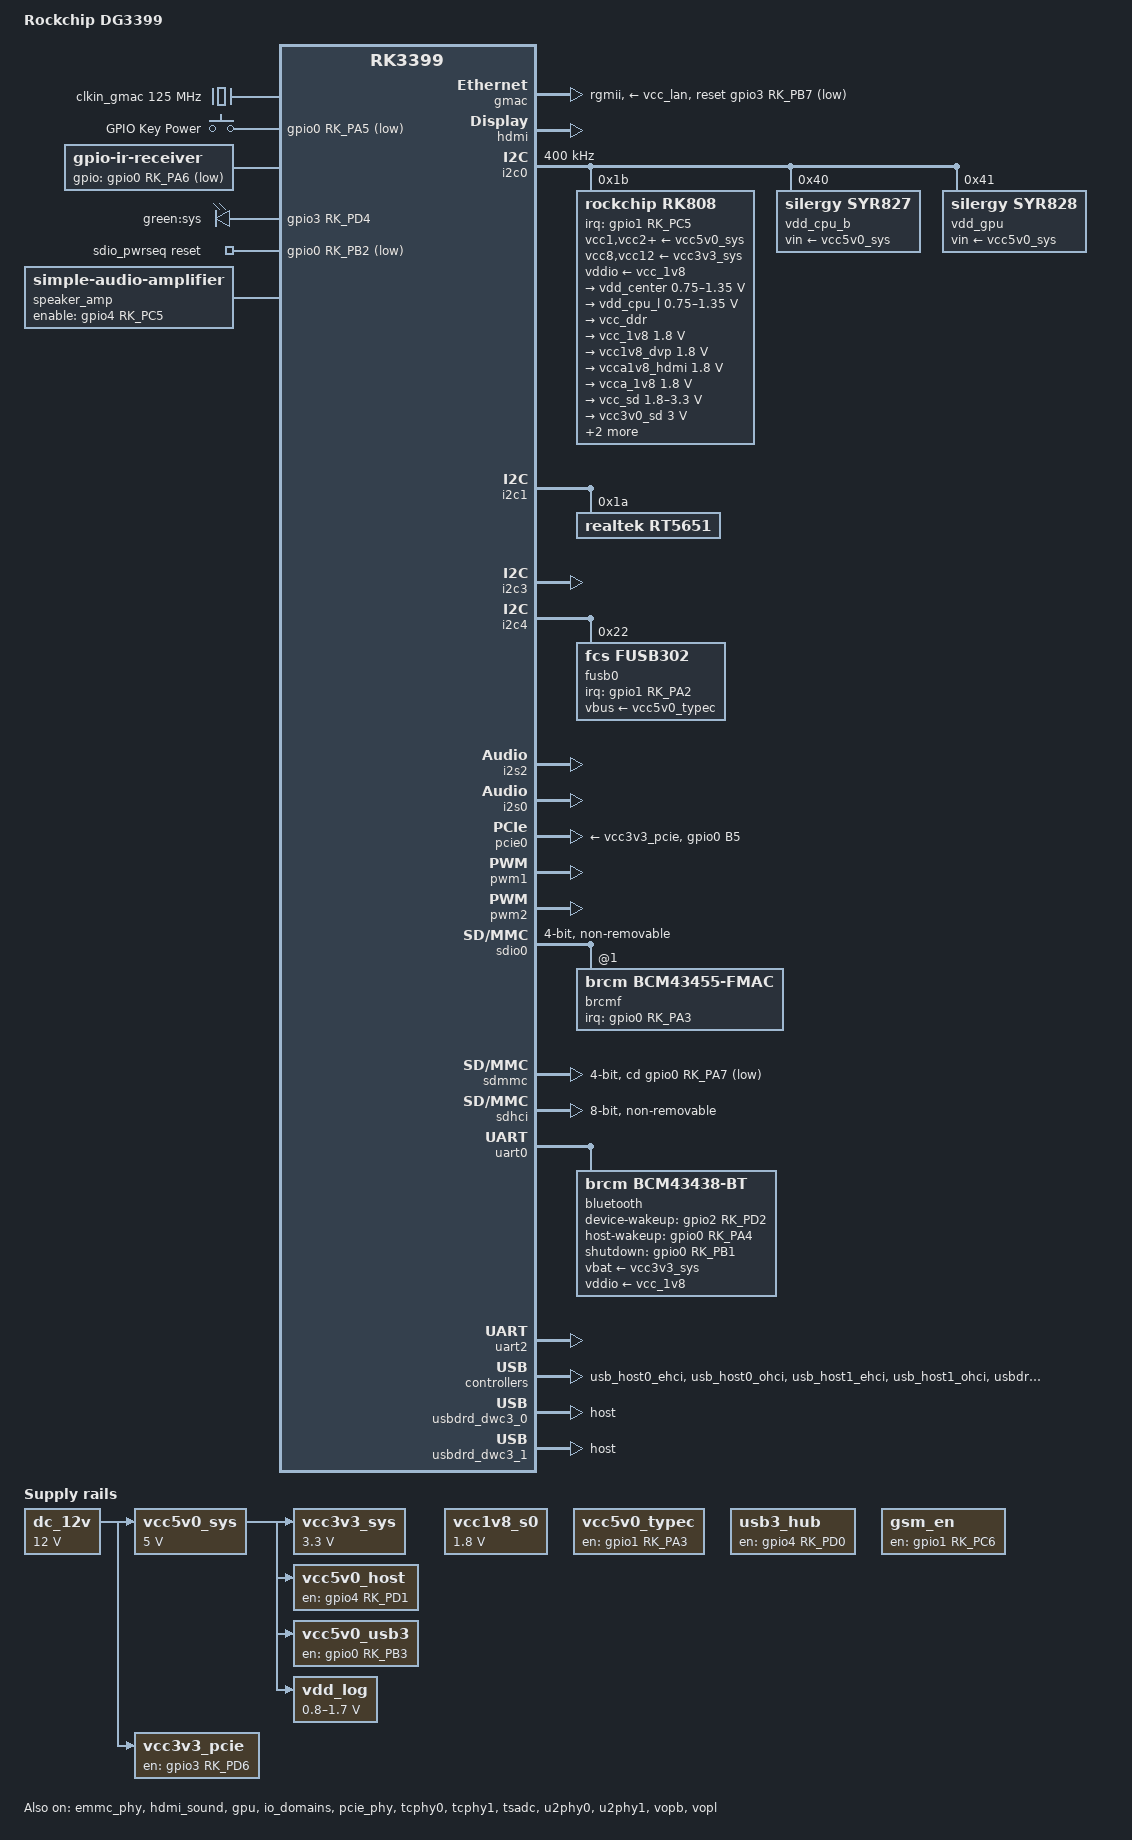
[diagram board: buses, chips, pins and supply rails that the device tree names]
// SPDX-License-Identifier: (GPL-2.0+ OR MIT)
/dts-v1/;

#include <dt-bindings/input/linux-event-codes.h>
#include <dt-bindings/pwm/pwm.h>
#include "dt-bindings/input/input.h"
#include <dt-bindings/interrupt-controller/irq.h>
#include "dt-bindings/usb/pd.h"
#include "rk3399.dtsi"
#include "watchdog.dtsi"

/ {
	model = "Rockchip DG3399";
	compatible = "rockchip,dg-3399", "rockchip,rk3399";

	aliases {
		ethernet0 = &gmac;
		mmc0 = &sdio0;
		mmc1 = &sdmmc;
		mmc2 = &sdhci;
	};

	chosen {
		stdout-path = "serial2:1500000n8";
	};

	clkin_gmac: external-gmac-clock {
		compatible = "fixed-clock";
		clock-frequency = <125000000>;
		clock-output-names = "clkin_gmac";
		#clock-cells = <0>;
	};

	gpio-keys {
		compatible = "gpio-keys";
		autorepeat;
		pinctrl-names = "default";
		pinctrl-0 = <&pwrbtn>;

		key-power {
			debounce-interval = <100>;
			gpios = <&gpio0 RK_PA5 GPIO_ACTIVE_LOW>;
			label = "GPIO Key Power";
			linux,code = <KEY_POWER>;
			wakeup-source;
		};
	};

	ir-receiver {
		compatible = "gpio-ir-receiver";
		gpios = <&gpio0 RK_PA6 GPIO_ACTIVE_LOW>;
		pinctrl-0 = <&ir_int>;
		pinctrl-names = "default";
	};

	leds {
		compatible = "gpio-leds";
		pinctrl-names = "default";
		pinctrl-0 = <&sys_led_pin>;

		sys_led: led-0 {
			label = "green:sys";
			default-state = "off";
			linux,default-trigger = "heartbeat";
			gpios = <&gpio3 RK_PD4 GPIO_ACTIVE_HIGH>;
		};
	};

	sdio_pwrseq: sdio-pwrseq {
		compatible = "mmc-pwrseq-simple";
		clocks = <&rk808 1>;
		clock-names = "ext_clock";
		pinctrl-names = "default";
		pinctrl-0 = <&wifi_enable_h>;
		reset-gpios = <&gpio0 RK_PB2 GPIO_ACTIVE_LOW>;
	};

	dc_12v: regulator-dc-12v {
		compatible = "regulator-fixed";
		regulator-name = "dc_12v";
		regulator-always-on;
		regulator-boot-on;
		regulator-min-microvolt = <12000000>;
		regulator-max-microvolt = <12000000>;
	};

	vcc1v8_s0: regulator-vcc1v8-s0 {
		compatible = "regulator-fixed";
		regulator-name = "vcc1v8_s0";
		regulator-always-on;
		regulator-boot-on;
		regulator-min-microvolt = <1800000>;
		regulator-max-microvolt = <1800000>;
	};

	vcc3v3_sys: regulator-vcc3v3-sys {
		compatible = "regulator-fixed";
		regulator-name = "vcc3v3_sys";
		regulator-always-on;
		regulator-boot-on;
		regulator-min-microvolt = <3300000>;
		regulator-max-microvolt = <3300000>;
		vin-supply = <&vcc5v0_sys>;
	};

	vcc5v0_host: regulator-vcc5v0-host {
		compatible = "regulator-fixed";
		enable-active-high;
		gpio = <&gpio4 RK_PD1 GPIO_ACTIVE_HIGH>;
		pinctrl-names = "default";
		pinctrl-0 = <&vcc5v0_host_en>;
		regulator-name = "vcc5v0_host";
		regulator-always-on;
		vin-supply = <&vcc5v0_sys>;
	};

	vcc5v0_typec: regulator-vcc5v0-typec {
		compatible = "regulator-fixed";
		enable-active-high;
		gpio = <&gpio1 RK_PA3 GPIO_ACTIVE_HIGH>;
		pinctrl-names = "default";
		pinctrl-0 = <&vcc5v0_typec_en>;
		regulator-name = "vcc5v0_typec";
		regulator-always-on;
	};

	vcc5v0_usb3: regulator-vcc5v0-usb3 {
		compatible = "regulator-fixed";
		enable-active-high;
		gpio = <&gpio0 RK_PB3 GPIO_ACTIVE_HIGH>;
		pinctrl-names = "default";
		pinctrl-0 = <&vcc5v0_usb3_en>;
		regulator-name = "vcc5v0_usb3";
		regulator-always-on;
		vin-supply = <&vcc5v0_sys>;
	};

	vcc5v0_sys: regulator-vcc5v0-sys {
		compatible = "regulator-fixed";
		regulator-name = "vcc5v0_sys";
		regulator-always-on;
		regulator-boot-on;
		regulator-min-microvolt = <5000000>;
		regulator-max-microvolt = <5000000>;
		vin-supply = <&dc_12v>;
	};

	vdd_log: vdd-log {
		compatible = "pwm-regulator";
		pwms = <&pwm2 0 25000 1>;
		pwm-supply = <&vcc5v0_sys>;
		regulator-name = "vdd_log";
		regulator-always-on;
		regulator-boot-on;
		regulator-min-microvolt = <800000>;
		regulator-max-microvolt = <1700000>;
	};

	usb3_hub: regulator-usb3-hub-en {
		compatible = "regulator-fixed";
		enable-active-high;
		gpio = <&gpio4 RK_PD0 GPIO_ACTIVE_HIGH>;
		pinctrl-names = "default";
		pinctrl-0 = <&usb3_hub_en>;
		regulator-name = "usb3_hub_en";
		regulator-always-on;
	};

	gsm_en: regulator-gsm-en {
		compatible = "regulator-fixed";
		enable-active-high;
		gpio = <&gpio1 RK_PC6 GPIO_ACTIVE_HIGH>;
		pinctrl-names = "default";
		pinctrl-0 = <&gsm_power_en>;
		regulator-name = "gsm_power_en";
		regulator-always-on;
	};

	vcc3v3_pcie: regulator-vcc3v3-pcie {
		compatible = "regulator-fixed";
		enable-active-high;
		gpio = <&gpio3 RK_PD6 GPIO_ACTIVE_HIGH>;
		pinctrl-names = "default";
		pinctrl-0 = <&pcie_pwr_en>;
		regulator-name = "vcc3v3_pcie";
		regulator-always-on;
		regulator-boot-on;
		vin-supply = <&dc_12v>;
	};

	// 音频编解码器
	rt5651_sound: rt5651-sound {
		compatible = "simple-audio-card";
		simple-audio-card,name = "rockchip,rt5651-codec";
		simple-audio-card,format = "i2s";
		simple-audio-card,mclk-fs = <256>;
		simple-audio-card,widgets =
			"Microphone", "Mic Jack",
			"Headphone", "Headphone Jack";
		simple-audio-card,routing =
			"Mic Jack", "MICBIAS1",
			"IN1P", "Mic Jack",
			"Headphone Jack", "HPOL",
			"Headphone Jack", "HPOR";

		simple-audio-card,cpu {
			sound-dai = <&i2s0>;
		};
		simple-audio-card,codec {
			sound-dai = <&rt5651>;
		};
	};

	// 扬声器放大器
	speaker_amp: speaker-amplifier {
		compatible = "simple-audio-amplifier";
		enable-gpios = <&gpio4 RK_PC5 GPIO_ACTIVE_HIGH>;
		sound-name-prefix = "Speaker Amp";
		status = "okay";
	};
};

&cpu_l0 {
	cpu-supply = <&vdd_cpu_l>;
};

&cpu_l1 {
	cpu-supply = <&vdd_cpu_l>;
};

&cpu_l2 {
	cpu-supply = <&vdd_cpu_l>;
};

&cpu_l3 {
	cpu-supply = <&vdd_cpu_l>;
};

&cpu_b0 {
	cpu-supply = <&vdd_cpu_b>;
};

&cpu_b1 {
	cpu-supply = <&vdd_cpu_b>;
};

&emmc_phy {
	status = "okay";
};

&gmac {
	assigned-clocks = <&cru SCLK_RMII_SRC>;
	assigned-clock-parents = <&clkin_gmac>;
	clock_in_out = "input";
	phy-supply = <&vcc_lan>;
	phy-mode = "rgmii";
	pinctrl-names = "default";
	pinctrl-0 = <&rgmii_pins>;
	snps,reset-gpio = <&gpio3 RK_PB7 GPIO_ACTIVE_LOW>;
	snps,reset-active-low;
	snps,reset-delays-us = <0 10000 50000>;
	tx_delay = <0x28>;
	rx_delay = <0x11>;
	status = "okay";
};

&hdmi {
	ddc-i2c-bus = <&i2c3>;
	pinctrl-names = "default";
	pinctrl-0 = <&hdmi_cec>;
	status = "okay";
};

&hdmi_sound {
	status = "okay";
};

&gpu {
	mali-supply = <&vdd_gpu>;
	status = "okay";
};

&i2c0 {
	clock-frequency = <400000>;
	i2c-scl-rising-time-ns = <168>;
	i2c-scl-falling-time-ns = <4>;
	status = "okay";

	rk808: pmic@1b {
		compatible = "rockchip,rk808";
		reg = <0x1b>;
		interrupt-parent = <&gpio1>;
		interrupts = <RK_PC5 IRQ_TYPE_LEVEL_LOW>;
		#clock-cells = <1>;
		clock-output-names = "xin32k", "rk808-clkout2";
		pinctrl-names = "default";
		pinctrl-0 = <&pmic_int_l>;
		system-power-controller;
		wakeup-source;

		vcc1-supply = <&vcc5v0_sys>;
		vcc2-supply = <&vcc5v0_sys>;
		vcc3-supply = <&vcc5v0_sys>;
		vcc4-supply = <&vcc5v0_sys>;
		vcc6-supply = <&vcc5v0_sys>;
		vcc7-supply = <&vcc5v0_sys>;
		vcc8-supply = <&vcc3v3_sys>;
		vcc9-supply = <&vcc5v0_sys>;
		vcc10-supply = <&vcc5v0_sys>;
		vcc11-supply = <&vcc5v0_sys>;
		vcc12-supply = <&vcc3v3_sys>;
		vddio-supply = <&vcc_1v8>;

		regulators {
			vdd_center: DCDC_REG1 {
				regulator-name = "vdd_center";
				regulator-always-on;
				regulator-boot-on;
				regulator-min-microvolt = <750000>;
				regulator-max-microvolt = <1350000>;
				regulator-ramp-delay = <6001>;
				regulator-state-mem {
					regulator-off-in-suspend;
				};
			};

			vdd_cpu_l: DCDC_REG2 {
				regulator-name = "vdd_cpu_l";
				regulator-always-on;
				regulator-boot-on;
				regulator-min-microvolt = <750000>;
				regulator-max-microvolt = <1350000>;
				regulator-ramp-delay = <6001>;
				regulator-state-mem {
					regulator-off-in-suspend;
				};
			};

			vcc_ddr: DCDC_REG3 {
				regulator-name = "vcc_ddr";
				regulator-always-on;
				regulator-boot-on;
				regulator-state-mem {
					regulator-on-in-suspend;
				};
			};

			vcc_1v8: DCDC_REG4 {
				regulator-name = "vcc_1v8";
				regulator-always-on;
				regulator-boot-on;
				regulator-min-microvolt = <1800000>;
				regulator-max-microvolt = <1800000>;
				regulator-state-mem {
					regulator-on-in-suspend;
					regulator-suspend-microvolt = <1800000>;
				};
			};

			vcc1v8_dvp: LDO_REG1 {
				regulator-name = "vcc1v8_dvp";
				regulator-always-on;
				regulator-boot-on;
				regulator-min-microvolt = <1800000>;
				regulator-max-microvolt = <1800000>;
				regulator-state-mem {
					regulator-on-in-suspend;
					regulator-suspend-microvolt = <1800000>;
				};
			};

			vcca1v8_hdmi: LDO_REG2 {
				regulator-name = "vcca1v8_hdmi";
				regulator-min-microvolt = <1800000>;
				regulator-max-microvolt = <1800000>;
				regulator-state-mem {
					regulator-on-in-suspend;
					regulator-suspend-microvolt = <1800000>;
				};
			};

			vcca_1v8: LDO_REG3 {
				regulator-name = "vcca_1v8";
				regulator-always-on;
				regulator-boot-on;
				regulator-min-microvolt = <1800000>;
				regulator-max-microvolt = <1800000>;
				regulator-state-mem {
					regulator-on-in-suspend;
					regulator-suspend-microvolt = <1800000>;
				};
			};

			vcc_sd: LDO_REG4 {
				regulator-name = "vcc_sd";
				regulator-always-on;
				regulator-boot-on;
				regulator-min-microvolt = <1800000>;
				regulator-max-microvolt = <3300000>;
				regulator-state-mem {
					regulator-on-in-suspend;
					regulator-suspend-microvolt = <3300000>;
				};
			};

			vcc3v0_sd: LDO_REG5 {
				regulator-name = "vcc3v0_sd";
				regulator-always-on;
				regulator-boot-on;
				regulator-min-microvolt = <3000000>;
				regulator-max-microvolt = <3000000>;
				regulator-state-mem {
					regulator-off-in-suspend;
					regulator-suspend-microvolt = <3000000>;
				};
			};

			vcc_1v5: LDO_REG6 {
				regulator-name = "vcc_1v5";
				regulator-always-on;
				regulator-boot-on;
				regulator-min-microvolt = <1500000>;
				regulator-max-microvolt = <1500000>;
				regulator-state-mem {
					regulator-on-in-suspend;
					regulator-suspend-microvolt = <1500000>;
				};
			};

			vcca0v9_hdmi: LDO_REG7 {
				regulator-name = "vcca0v9_hdmi";
				regulator-always-on;
				regulator-boot-on;
				regulator-min-microvolt = <1800000>;
				regulator-max-microvolt = <1800000>;
				regulator-state-mem {
					regulator-on-in-suspend;
					regulator-suspend-microvolt = <1800000>;
				};
			};

			vcc_3v0: LDO_REG8 {
				regulator-name = "vcc_3v0";
				regulator-always-on;
				regulator-boot-on;
				regulator-min-microvolt = <3000000>;
				regulator-max-microvolt = <3000000>;
				regulator-state-mem {
					regulator-on-in-suspend;
					regulator-suspend-microvolt = <3000000>;
				};
			};

			vcc3v3_s3: vcc_lan: SWITCH_REG1 {
				regulator-name = "vcc3v3_s3";
				regulator-always-on;
				regulator-boot-on;
				regulator-state-mem {
					regulator-on-in-suspend;
				};
			};

			vcc3v3_s0: SWITCH_REG2 {
				regulator-name = "vcc3v3_s0";
				regulator-state-mem {
					regulator-on-in-suspend;
				};
			};
		};
	};

	vdd_cpu_b: regulator@40 {
		compatible = "silergy,syr827";
		reg = <0x40>;
		fcs,suspend-voltage-selector = <1>;
		pinctrl-names = "default";
		pinctrl-0 = <&vsel1_pin>;
		regulator-name = "vdd_cpu_b";
		regulator-min-microvolt = <712500>;
		regulator-max-microvolt = <1500000>;
		regulator-ramp-delay = <1000>;
		regulator-always-on;
		regulator-boot-on;
		vin-supply = <&vcc5v0_sys>;

		regulator-state-mem {
			regulator-off-in-suspend;
		};
	};

	vdd_gpu: regulator@41 {
		compatible = "silergy,syr828";
		reg = <0x41>;
		fcs,suspend-voltage-selector = <1>;
		pinctrl-names = "default";
		pinctrl-0 = <&vsel2_pin>;
		regulator-name = "vdd_gpu";
		regulator-min-microvolt = <712500>;
		regulator-max-microvolt = <1500000>;
		regulator-ramp-delay = <1000>;
		regulator-always-on;
		regulator-boot-on;
		vin-supply = <&vcc5v0_sys>;

		regulator-state-mem {
			regulator-off-in-suspend;
		};
	};
};

&i2c1 {
	i2c-scl-rising-time-ns = <300>;
	i2c-scl-falling-time-ns = <15>;
	status = "okay";

	rt5651: rt5651@1a {
		compatible = "realtek,rt5651";
		reg = <0x1a>;
		clocks = <&cru SCLK_I2S_8CH_OUT>;
		clock-names = "mclk";
		#sound-dai-cells = <0>;
		status = "okay";
	};
};

&i2c3 {
	i2c-scl-rising-time-ns = <450>;
	i2c-scl-falling-time-ns = <15>;
	status = "okay";
};

&i2c4 {
	i2c-scl-rising-time-ns = <600>;
	i2c-scl-falling-time-ns = <20>;
	status = "okay";

	fusb0: typec-portc@22 {
		compatible = "fcs,fusb302";
		reg = <0x22>;
		interrupt-parent = <&gpio1>;
		interrupts = <RK_PA2 IRQ_TYPE_LEVEL_LOW>;
		pinctrl-names = "default";
		pinctrl-0 = <&fusb0_int>;
		vbus-supply = <&vcc5v0_typec>;
		status = "okay";
	};

	wk2204: wk2xxx@70 {
		compatible = "wk2xxx,wk2xxxtty";
		reg = <0x70>;
		pinctrl-names = "default";
		pinctrl-0 = <&wk2xxx_irq_pin &wk2xxx_cs_pin>;
		wk2xxx_irq_pin = <&gpio4 RK_PD2 GPIO_ACTIVE_LOW>;
		wk2xxx_cs_pin = <&gpio4 RK_PD1 GPIO_ACTIVE_HIGH>;
		status = "disabled";
	};
};

&i2s2 {
	#sound-dai-cells = <0>;
	status = "okay";
};

&i2s0 {
	status = "okay";
	#sound-dai-cells = <0>;
	rockchip,i2s-broken-burst-len;
	rockchip,playback-channels = <8>;
	rockchip,capture-channels = <8>;
	clocks = <&cru SCLK_I2S0_8CH>, <&cru HCLK_I2S0_8CH>;
	clock-names = "i2s_clk", "i2s_hclk";
	dmas = <&dmac_bus 0>, <&dmac_bus 1>;
	dma-names = "tx", "rx";
};

&io_domains {
	status = "okay";

	bt656-supply = <&vcc1v8_s0>;
	audio-supply = <&vcc1v8_s0>;
	sdmmc-supply = <&vcc_sd>;
	gpio1830-supply = <&vcc_3v0>;
};

&pcie0 {
	ep-gpios = <&gpio0 RK_PB5 GPIO_ACTIVE_HIGH>;
	pinctrl-names = "default";
	pinctrl-0 = <&pcie_perst>;
	vpcie12v-supply = <&dc_12v>;
	vpcie3v3-supply = <&vcc3v3_pcie>;
	status = "okay";
};

&pcie_phy {
	status = "okay";
};

&pmu_io_domains {
	pmu1830-supply = <&vcc_3v0>;
	status = "okay";
};

&pinctrl {
	bt {
		bt_enable_h: bt-enable-h {
			rockchip,pins = <0 RK_PB1 RK_FUNC_GPIO &pcfg_pull_none>;
		};

		bt_host_wake_l: bt-host-wake-l {
			rockchip,pins = <0 RK_PA4 RK_FUNC_GPIO &pcfg_pull_down>;
		};

		bt_wake_l: bt-wake-l {
			rockchip,pins = <2 RK_PD2 RK_FUNC_GPIO &pcfg_pull_none>;
		};
	};

	wifi {
		wifi_host_wake_l: wifi-host-wake-l {
			rockchip,pins = <0 RK_PA3 RK_FUNC_GPIO &pcfg_pull_none>;
		};
	};

	buttons {
		pwrbtn: pwrbtn {
			rockchip,pins = <0 RK_PA5 RK_FUNC_GPIO &pcfg_pull_up>;
		};
	};

	fusb302x {
		fusb0_int: fusb0-int {
			rockchip,pins = <1 RK_PA2 RK_FUNC_GPIO &pcfg_pull_up>;
		};
	};

	ir {
		ir_int: ir-int {
			rockchip,pins = <0 RK_PA6 RK_FUNC_GPIO &pcfg_pull_none>;
		};
	};

	pcie {
		pcie_perst: pcie-perst {
			rockchip,pins = <0 RK_PB5 RK_FUNC_GPIO &pcfg_pull_none>;
		};

		pcie_pwr_en: pcie-pwr-en {
			rockchip,pins = <3 RK_PD6 RK_FUNC_GPIO &pcfg_pull_none>;
		};
	};

	pmic {
		pmic_int_l: pmic-int-l {
			rockchip,pins = <1 RK_PC5 RK_FUNC_GPIO &pcfg_pull_up>;
		};

		vsel1_pin: vsel1-pin {
			rockchip,pins = <1 RK_PC1 RK_FUNC_GPIO &pcfg_pull_down>;
		};

		vsel2_pin: vsel2-pin {
			rockchip,pins = <1 RK_PB6 RK_FUNC_GPIO &pcfg_pull_down>;
		};
	};

	sdcard {
		sdmmc0_pwr_h: sdmmc0-pwr-h {
			rockchip,pins = <0 RK_PA1 RK_FUNC_GPIO &pcfg_pull_none>;
		};
	};

	sdio-pwrseq {
		wifi_enable_h: wifi-enable-h {
			rockchip,pins = <0 RK_PB2 RK_FUNC_GPIO &pcfg_pull_none>;
		};
	};

	usb-typec {
		vcc5v0_typec_en: vcc5v0_typec_en {
			rockchip,pins = <1 RK_PA3 RK_FUNC_GPIO &pcfg_pull_up>;
		};
	};

	usb {
		vcc5v0_host_en: vcc5v0-host-en {
			rockchip,pins = <4 RK_PD1 RK_FUNC_GPIO &pcfg_pull_none>;
		};
		vcc5v0_usb3_en: vcc5v0-usb3-en {
			rockchip,pins = <0 RK_PB3 RK_FUNC_GPIO &pcfg_pull_up>;
		};
		usb3_hub_en: usb3-hub-en {
			rockchip,pins = <4 RK_PD0 RK_FUNC_GPIO &pcfg_pull_up>;
		};
	};

	headphone {
		hp_det: hp-det {
			rockchip,pins = <4 RK_PD4 RK_FUNC_GPIO &pcfg_pull_up>;
		};
		spk_ctl: spk-ctl {
			rockchip,pins = <4 RK_PC5 RK_FUNC_GPIO &pcfg_pull_none>;
		};
	};

	func_gpio {
		wk2xxx_irq_pin: wk2xxx-irq-pin {
			rockchip,pins = <4 RK_PD2 RK_FUNC_GPIO &pcfg_pull_down>;
		};
		wk2xxx_cs_pin: wk2xxx-cs-pin {
			rockchip,pins = <4 RK_PD1 RK_FUNC_GPIO &pcfg_pull_up>;
		};
		wakeonlan_pin: wakeonlan-pin {
			rockchip,pins = <3 RK_PC0 RK_FUNC_GPIO &pcfg_pull_down>;
		};
		pwr_hold: pwr-hold {
			rockchip,pins = <1 RK_PB5 RK_FUNC_GPIO &pcfg_pull_up>;
		};
		sys_led_pin: sys-led-pin {
			rockchip,pins = <3 RK_PD4 RK_FUNC_GPIO &pcfg_pull_none>;
		};
		human_induction: human-induction {
			rockchip,pins = <1 RK_PA0 RK_FUNC_GPIO &pcfg_pull_none>;
		};
		infrared_test: infrared-test {
			rockchip,pins = <4 RK_PC6 RK_FUNC_GPIO &pcfg_pull_none>;
		};
		heartbeat_test: heartbeat-test {
			rockchip,pins = <1 RK_PC4 RK_FUNC_GPIO &pcfg_pull_none>;
		};
		watchdog_feed: watchdog-feed {
			rockchip,pins = <1 RK_PA4 RK_FUNC_GPIO &pcfg_pull_up>;
		};
		watchdog_en: watchdog-en {
			rockchip,pins = <1 RK_PC2 RK_FUNC_GPIO &pcfg_pull_down>;
		};
		gsm_power_en: gsm-power-en {
			rockchip,pins = <1 RK_PC6 RK_FUNC_GPIO &pcfg_pull_down>;
		};
		gsm_reset_pin: gsm-reset-pin {
			rockchip,pins = <1 RK_PD0 RK_FUNC_GPIO &pcfg_pull_down>;
		};
		gdm_disable_pin: gdm-disable-pin {
			rockchip,pins = <0 RK_PA2 RK_FUNC_GPIO &pcfg_pull_down>;
		};
		gsm_sim_det: gsm-sim-det {
			rockchip,pins = <1 RK_PC7 RK_FUNC_GPIO &pcfg_pull_down>;
		};
		gpio_a0_pin: gpio-a0-pin {
			rockchip,pins = <1 RK_PA0 RK_FUNC_GPIO &pcfg_pull_none>;
		};
	};

	gmac {
		rgmii_sleep_pins: rgmii-sleep-pins {
			rockchip,pins =<3 RK_PB7 RK_FUNC_GPIO &pcfg_output_low>;
		};
	};

	i2s0 {
		i2s_8ch_mclk_pin: i2s-8ch-mclk-pin {
			rockchip,pins = <4 RK_PA0 1 &pcfg_pull_none>;
		};
	};

	pwm {
		pwm0_pin: pwm0-pin {
			rockchip,pins = <4 RK_PD6 2 &pcfg_pull_none>;
		};
	};
};

&pwm1 {
	status = "okay";
};

&pwm2 {
	status = "okay";
};

&sdio0 {
	status = "okay";
	#address-cells = <1>;
	#size-cells = <0>;
	bus-width = <4>;
	clock-frequency = <50000000>;
	cap-sdio-irq;
	cap-sd-highspeed;
	keep-power-in-suspend;
	mmc-pwrseq = <&sdio_pwrseq>;
	non-removable;
	pinctrl-names = "default";
	pinctrl-0 = <&sdio0_bus4 &sdio0_cmd &sdio0_clk>;
	sd-uhs-sdr104;

	brcmf: wifi@1 {
		compatible = "brcm,bcm43455-fmac";
		reg = <1>;
		interrupt-parent = <&gpio0>;
		interrupts = <RK_PA3 IRQ_TYPE_LEVEL_HIGH>;
		interrupt-names = "host-wake";
		pinctrl-names = "default";
		pinctrl-0 = <&wifi_host_wake_l>;
	};
};

&sdmmc {
	bus-width = <4>;
	cap-sd-highspeed;
	cd-gpios = <&gpio0 RK_PA7 GPIO_ACTIVE_LOW>;
	disable-wp;
	sd-uhs-sdr104;
	max-frequency = <150000000>;
	pinctrl-names = "default";
	pinctrl-0 = <&sdmmc_clk &sdmmc_cmd &sdmmc_cd &sdmmc_bus4>;
	vqmmc-supply = <&vcc_sd>;
	status = "okay";
};

&sdhci {
	bus-width = <8>;
	mmc-hs400-1_8v;
	mmc-hs400-enhanced-strobe;
	non-removable;
	status = "okay";
};

&tcphy0 {
	status = "okay";
};

&tcphy1 {
	status = "okay";
};

&tsadc {
	rockchip,hw-tshut-mode = <1>;
	rockchip,hw-tshut-polarity = <1>;
	status = "okay";
};

&u2phy0 {
	status = "okay";

	u2phy0_otg: otg-port {
		phy-supply = <&vcc5v0_typec>;
		status = "okay";
	};

	u2phy0_host: host-port {
		phy-supply = <&vcc5v0_host>;
		status = "okay";
	};
};

&u2phy1 {
	status = "okay";

	u2phy1_otg: otg-port {
		status = "okay";
	};

	u2phy1_host: host-port {
		phy-supply = <&vcc5v0_host>;
		status = "okay";
	};
};

&uart0 {
	pinctrl-names = "default";
	pinctrl-0 = <&uart0_xfer &uart0_cts &uart0_rts>;
	status = "okay";

	bluetooth {
		compatible = "brcm,bcm43438-bt";
		clocks = <&rk808 1>;
		clock-names = "lpo";
		device-wakeup-gpios = <&gpio2 RK_PD2 GPIO_ACTIVE_HIGH>;
		host-wakeup-gpios = <&gpio0 RK_PA4 GPIO_ACTIVE_HIGH>;
		shutdown-gpios = <&gpio0 RK_PB1 GPIO_ACTIVE_HIGH>;
		pinctrl-names = "default";
		pinctrl-0 = <&bt_host_wake_l &bt_wake_l &bt_enable_h>;
		vbat-supply = <&vcc3v3_sys>;
		vddio-supply = <&vcc_1v8>;
	};
};

&uart2 {
	status = "okay";
};

&spi1 {
	status = "disabled";
	display@0 {
		compatible = "jianda,jd-t18003-t01", "sitronix,st7735r";
		reg = <0>;
		pinctrl-names = "default";
		spi-max-frequency = <32000000>;
		dc-gpios = <&gpio1 RK_PC4 GPIO_ACTIVE_HIGH>;
		reset-gpios = <&gpio4 RK_PC6 GPIO_ACTIVE_HIGH>;
		rotation = <270>;
		backlight = <&backlight>;
	};
};

// 背光控制
backlight: backlight {
	compatible = "pwm-backlight";
	pwms = <&pwm0 0 25000 0>;
	brightness-levels = <
		 0   1   2   3   4   5   6   7
		 8   9  10  11  12  13  14  15
		16  17  18  19  20  21  22  23
		24  25  26  27  28  29  30  31
		32  33  34  35  36  37  38  39
		40  41  42  43  44  45  46  47
		48  49  50  51  52  53  54  55
		56  57  58  59  60  61  62  63
		64  65  66  67  68  69  70  71
		72  73  74  75  76  77  78  79
		80  81  82  83  84  85  86  87
		88  89  90  91  92  93  94  95
		96  97  98  99 100 101 102 103
		104 105 106 107 108 109 110 111
		112 113 114 115 116 117 118 119
		120 121 122 123 124 125 126 127
		128 129 130 131 132 133 134 135
		136 137 138 139 140 141 142 143
		144 145 146 147 148 149 150 151
		152 153 154 155 156 157 158 159
		160 161 162 163 164 165 166 167
		168 169 170 171 172 173 174 175
		176 177 178 179 180 181 182 183
		184 185 186 187 188 189 190 191
		192 193 194 195 196 197 198 199
		200 201 202 203 204 205 206 207
		208 209 210 211 212 213 214 215
		216 217 218 219 220 221 222 223
		224 225 226 227 228 229 230 231
		232 233 234 235 236 237 238 239
		240 241 242 243 244 245 246 247
		248 249 250 251 252 253 254 255>;
	default-brightness-level = <200>;
	enable-gpios = <&gpio4 RK_PD6 GPIO_ACTIVE_HIGH>;
	power-supply = <&vcc3v3_sys>;
	pinctrl-names = "default";
	pinctrl-0 = <&pwm0_pin>;
};

&usb_host0_ehci {
	status = "okay";
};

&usb_host0_ohci {
	status = "okay";
};

&usb_host1_ehci {
	status = "okay";
};

&usb_host1_ohci {
	status = "okay";
};

&usbdrd3_0 {
	status = "okay";
};

&usbdrd_dwc3_0 {
	status = "okay";
	dr_mode = "host";
};

&usbdrd3_1 {
	status = "okay";
};

&usbdrd_dwc3_1 {
	status = "okay";
	dr_mode = "host";
};

&vopb {
	status = "okay";
};

&vopb_mmu {
	status = "okay";
};

&vopl {
	status = "okay";
};

&vopl_mmu {
	status = "okay";
};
